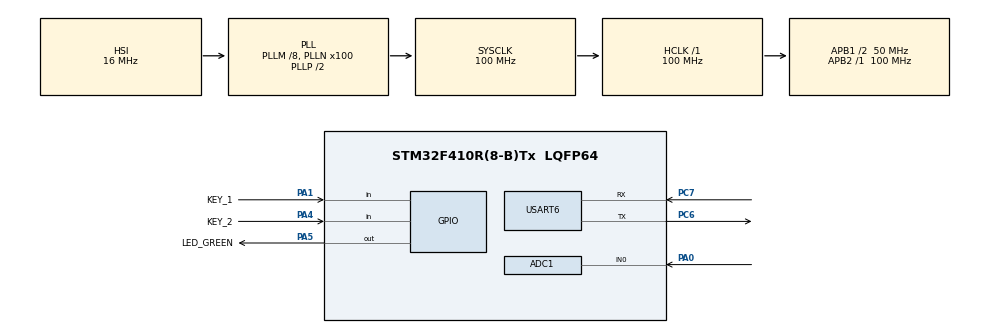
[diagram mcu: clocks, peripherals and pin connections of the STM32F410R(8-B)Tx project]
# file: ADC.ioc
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ADC1.Channel-1\#ChannelRegularConversion=ADC_CHANNEL_0
ADC1.NbrOfConversionFlag=1
ADC1.Rank-1\#ChannelRegularConversion=1
ADC1.SamplingTime-1\#ChannelRegularConversion=ADC_SAMPLETIME_3CYCLES
ADC1.master=1
Mcu.Family=STM32F4
Mcu.Name=STM32F410R(8-B)Tx
Mcu.Package=LQFP64
NVIC.PriorityGroup=NVIC_PRIORITYGROUP_4
PA0-WKUP.Signal=ADCx_IN0
PA1.GPIO_Label=KEY_1
PA1.GPIO_PuPd=GPIO_PULLUP
PA1.Signal=GPIO_Input
PA4.GPIO_Label=KEY_2
PA4.GPIO_PuPd=GPIO_PULLUP
PA4.Signal=GPIO_Input
PA5.GPIO_Label=LED_GREEN
PA5.Signal=GPIO_Output
PC6.Mode=Asynchronous
PC6.Signal=USART6_TX
PC7.Mode=Asynchronous
PC7.Signal=USART6_RX
ProjectManager.HeapSize=0x200
ProjectManager.StackSize=0x400
ProjectManager.TargetToolchain=MDK-ARM V5.32
RCC.48MHZClocksFreq_Value=50000000
RCC.AHBFreq_Value=100000000
RCC.APB1CLKDivider=RCC_HCLK_DIV2
RCC.APB1Freq_Value=50000000
RCC.APB1TimFreq_Value=100000000
RCC.APB2Freq_Value=100000000
RCC.APB2TimFreq_Value=100000000
RCC.CortexFreq_Value=100000000
RCC.HCLKFreq_Value=100000000
RCC.HSE_VALUE=8000000
RCC.HSI_VALUE=16000000
RCC.LSE_VALUE=32768
RCC.PLLM=8
RCC.PLLN=100
RCC.SYSCLKFreq_VALUE=100000000
RCC.SYSCLKSource=RCC_SYSCLKSOURCE_PLLCLK
RCC.VCOOutputFreq_Value=200000000
SH.ADCx_IN0.0=ADC1_IN0,IN0
USART6.VirtualMode=VM_ASYNC
board=custom

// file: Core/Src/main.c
/* USER CODE BEGIN Header */
/**
  ******************************************************************************
  * @file           : main.c
  * @brief          : Main program body
  ******************************************************************************
  * @attention
  *
  * Copyright (c) 2024 STMicroelectronics.
  * All rights reserved.
  *
  * This software is licensed under terms that can be found in the LICENSE file
  * in the root directory of this software component.
  * If no LICENSE file comes with this software, it is provided AS-IS.
  *
  ******************************************************************************
  */
/* USER CODE END Header */
#include "main.h"

/* USER CODE BEGIN Includes */
#include "BUTTON_HANDLER.h"
#include "stdbool.h"

/* USER CODE END Includes */

/* USER CODE BEGIN PTD */

typedef struct
{
		UART_HandleTypeDef *huart;
		uint8_t start_byte;
		uint8_t uart_add;
		uint8_t data_buf[15];
		uint8_t last_byte;

}UART_CONF;

/* USER CODE END PTD */

/* USER CODE BEGIN PD */

#define SIZE_DATA 3

#define HUART 					huart6
#define UART_ADD 				0x01
#define START_BYTE 			0xF1
#define LAST_BYTE 			0xF2
/* USER CODE END PD */

ADC_HandleTypeDef hadc1;

UART_HandleTypeDef huart6;

/* USER CODE BEGIN PV */

uint8_t data[SIZE_DATA];
uint16_t adc_value = 0;

UART_CONF uart_one; //створення структури конфигурації UART

/* USER CODE END PV */

void SystemClock_Config(void);
static void MX_GPIO_Init(void);
static void MX_ADC1_Init(void);
static void MX_USART6_UART_Init(void);
/* USER CODE BEGIN PFP */

void setConfigUART(UART_HandleTypeDef *huart ,uint8_t uart_add, uint8_t start_byte, uint8_t last_byte);
bool UART_Transmit(UART_CONF *uart, uint8_t *data, uint8_t *len);
unsigned char Crc8(unsigned char *pcBlock, unsigned int len);

/* USER CODE END PFP */

int main(void)
{

  /* MCU Configuration--------------------------------------------------------*/

  /* Reset of all peripherals, Initializes the Flash interface and the Systick. */
  HAL_Init();

  /* USER CODE BEGIN Init */

	setConfigUART(&HUART, UART_ADD, START_BYTE, LAST_BYTE); //установка налаштувань UART

  /* USER CODE END Init */

  /* Configure the system clock */
  SystemClock_Config();

  /* Initialize all configured peripherals */
  MX_GPIO_Init();
  MX_ADC1_Init();
  MX_USART6_UART_Init();
  /* USER CODE BEGIN 2 */

	BUTTON_Init();

  /* USER CODE END 2 */

  /* Infinite loop */
  /* USER CODE BEGIN WHILE */
	uint8_t len = 3;
  while (1)
  {
			HAL_ADC_Start( &hadc1 );

			if( HAL_ADC_PollForConversion( &hadc1, 100 ) == HAL_OK )
			{
					adc_value = HAL_ADC_GetValue( &hadc1 );
			}

			BUTTON_Process(); //Початок обробки кнопок.

			if( BUTTON_GetAction(KEY_1, TRIG_FALL_ONE_TIME) == BUTTON_SHORT_PRESS )
			{
					data[0] = 1;
					data[1] = (uint16_t)adc_value >> 8;
					data[2] = (uint8_t)adc_value;
					//data[3] = Crc8(data, SIZE_DATA-1);	//Обчислення контрольної суми.
					//HAL_UART_Transmit( &huart6, data, 3, 100 );

					UART_Transmit(&uart_one, data, &len);
			}

			if( BUTTON_GetAction(KEY_2, TRIG_RISE_ONE_TIME) == BUTTON_SHORT_PRESS )
			{
					data[0] = 2;
					data[1] = (uint16_t)adc_value >> 8;
					data[2] = (uint8_t)adc_value;
					//data[3] = Crc8(data, SIZE_DATA-1);	//Обчислення контрольної суми.
					UART_Transmit(&uart_one, data, &len);
			}

			BUTTON_ResetActions();	//Кінець обробки кнопок.

    /* USER CODE END WHILE */

  }
}

void SystemClock_Config(void)
{
  RCC_OscInitTypeDef RCC_OscInitStruct = {0};
  RCC_ClkInitTypeDef RCC_ClkInitStruct = {0};

  /** Configure the main internal regulator output voltage
  */
  __HAL_RCC_PWR_CLK_ENABLE();
  __HAL_PWR_VOLTAGESCALING_CONFIG(PWR_REGULATOR_VOLTAGE_SCALE1);

  /** Initializes the RCC Oscillators according to the specified parameters
  * in the RCC_OscInitTypeDef structure.
  */
  RCC_OscInitStruct.OscillatorType = RCC_OSCILLATORTYPE_HSI;
  RCC_OscInitStruct.HSIState = RCC_HSI_ON;
  RCC_OscInitStruct.HSICalibrationValue = RCC_HSICALIBRATION_DEFAULT;
  RCC_OscInitStruct.PLL.PLLState = RCC_PLL_ON;
  RCC_OscInitStruct.PLL.PLLSource = RCC_PLLSOURCE_HSI;
  RCC_OscInitStruct.PLL.PLLM = 8;
  RCC_OscInitStruct.PLL.PLLN = 100;
  RCC_OscInitStruct.PLL.PLLP = RCC_PLLP_DIV2;
  RCC_OscInitStruct.PLL.PLLQ = 4;
  RCC_OscInitStruct.PLL.PLLR = 2;
  if (HAL_RCC_OscConfig(&RCC_OscInitStruct) != HAL_OK)
  {
    Error_Handler();
  }

  /** Initializes the CPU, AHB and APB buses clocks
  */
  RCC_ClkInitStruct.ClockType = RCC_CLOCKTYPE_HCLK|RCC_CLOCKTYPE_SYSCLK
                              |RCC_CLOCKTYPE_PCLK1|RCC_CLOCKTYPE_PCLK2;
  RCC_ClkInitStruct.SYSCLKSource = RCC_SYSCLKSOURCE_PLLCLK;
  RCC_ClkInitStruct.AHBCLKDivider = RCC_SYSCLK_DIV1;
  RCC_ClkInitStruct.APB1CLKDivider = RCC_HCLK_DIV2;
  RCC_ClkInitStruct.APB2CLKDivider = RCC_HCLK_DIV1;

  if (HAL_RCC_ClockConfig(&RCC_ClkInitStruct, FLASH_LATENCY_3) != HAL_OK)
  {
    Error_Handler();
  }
}

static void MX_ADC1_Init(void)
{

  ADC_ChannelConfTypeDef sConfig = {0};

  /** Configure the global features of the ADC (Clock, Resolution, Data Alignment and number of conversion)
  */
  hadc1.Instance = ADC1;
  hadc1.Init.ClockPrescaler = ADC_CLOCK_SYNC_PCLK_DIV4;
  hadc1.Init.Resolution = ADC_RESOLUTION_12B;
  hadc1.Init.ScanConvMode = DISABLE;
  hadc1.Init.ContinuousConvMode = DISABLE;
  hadc1.Init.DiscontinuousConvMode = DISABLE;
  hadc1.Init.ExternalTrigConvEdge = ADC_EXTERNALTRIGCONVEDGE_NONE;
  hadc1.Init.ExternalTrigConv = ADC_SOFTWARE_START;
  hadc1.Init.DataAlign = ADC_DATAALIGN_RIGHT;
  hadc1.Init.NbrOfConversion = 1;
  hadc1.Init.DMAContinuousRequests = DISABLE;
  hadc1.Init.EOCSelection = ADC_EOC_SINGLE_CONV;
  if (HAL_ADC_Init(&hadc1) != HAL_OK)
  {
    Error_Handler();
  }

  /** Configure for the selected ADC regular channel its corresponding rank in the sequencer and its sample time.
  */
  sConfig.Channel = ADC_CHANNEL_0;
  sConfig.Rank = 1;
  sConfig.SamplingTime = ADC_SAMPLETIME_3CYCLES;
  if (HAL_ADC_ConfigChannel(&hadc1, &sConfig) != HAL_OK)
  {
    Error_Handler();
  }

}

static void MX_USART6_UART_Init(void)
{

  huart6.Instance = USART6;
  huart6.Init.BaudRate = 115200;
  huart6.Init.WordLength = UART_WORDLENGTH_8B;
  huart6.Init.StopBits = UART_STOPBITS_1;
  huart6.Init.Parity = UART_PARITY_NONE;
  huart6.Init.Mode = UART_MODE_TX_RX;
  huart6.Init.HwFlowCtl = UART_HWCONTROL_NONE;
  huart6.Init.OverSampling = UART_OVERSAMPLING_16;
  if (HAL_UART_Init(&huart6) != HAL_OK)
  {
    Error_Handler();
  }

}

static void MX_GPIO_Init(void)
{
  GPIO_InitTypeDef GPIO_InitStruct = {0};

  /* GPIO Ports Clock Enable */
  __HAL_RCC_GPIOA_CLK_ENABLE();
  __HAL_RCC_GPIOC_CLK_ENABLE();

  /*Configure GPIO pin Output Level */
  HAL_GPIO_WritePin(LED_GREEN_GPIO_Port, LED_GREEN_Pin, GPIO_PIN_RESET);

  /*Configure GPIO pins : KEY_1_Pin KEY_2_Pin */
  GPIO_InitStruct.Pin = KEY_1_Pin|KEY_2_Pin;
  GPIO_InitStruct.Mode = GPIO_MODE_INPUT;
  GPIO_InitStruct.Pull = GPIO_PULLUP;
  HAL_GPIO_Init(GPIOA, &GPIO_InitStruct);

  /*Configure GPIO pin : LED_GREEN_Pin */
  GPIO_InitStruct.Pin = LED_GREEN_Pin;
  GPIO_InitStruct.Mode = GPIO_MODE_OUTPUT_PP;
  GPIO_InitStruct.Pull = GPIO_NOPULL;
  GPIO_InitStruct.Speed = GPIO_SPEED_FREQ_LOW;
  HAL_GPIO_Init(LED_GREEN_GPIO_Port, &GPIO_InitStruct);

}

/* USER CODE BEGIN 4 */

unsigned char Crc8(unsigned char *pcBlock, unsigned int len)
{
    unsigned char crc = 0xFF;
    unsigned int i;

    while (len--)
    {
        crc ^= *pcBlock++;

        for (i = 0; i < 8; i++)
            crc = crc & 0x80 ? (crc << 1) ^ 0x31 : crc << 1;
    }

    return crc;
}

//додати щоб функція на прийом повертала флаг, прийняла данні

//void UART_Transmit(UART_HandleTypeDef *huart ,uint8_t start_byte, uint8_t uart_add, uint8_t num_bytes, uint8_t *uart_buf, uint8_t last_byte)

//void UART_Transmit(UART_HandleTypeDef *huart ,uint8_t start_byte, uint8_t uart_add, uint8_t num_bytes, uint8_t *uart_buf, uint8_t last_byte)
//{
//		HAL_I2C_Master_Transmit( MyI2C, i2c_add, data, size, 100);
//}

//void UART_Receive(UART_HandleTypeDef *huart ,uint8_t start_byte, uint8_t uart_add, uint8_t num_bytes, uint8_t *uart_buf, uint8_t last_byte)
//{
//	HAL_I2C_Master_Receive( MyI2C, i2c_add, data, size, 100);
//}

void setConfigUART(UART_HandleTypeDef *huart ,uint8_t uart_add, uint8_t start_byte, uint8_t last_byte)
{
		uart_one.huart = huart;
		uart_one.uart_add = uart_add;
		uart_one.start_byte = start_byte;
		uart_one.last_byte = last_byte;
}

//За один раз приймати/передавати можна до 13 байт данних включно.
bool UART_Transmit(UART_CONF *uart, uint8_t *data, uint8_t *len) //Для прийому та відправки треба давати масив на 4 елементи більше для резерву, після відправки данних фуннкція повертає true
{
		uart->data_buf[0] = uart->start_byte;
		uart->data_buf[1] = uart->uart_add;
		uart->data_buf[2] = *len;

		for(uint8_t i = 0; i < *len; i++)
		{
				uart->data_buf[i+3] =	data[i];
		}

		uart->data_buf[*len+3] = Crc8(data, *len+2);

		uart->data_buf[*len+3+1] = uart->last_byte;

		return HAL_OK == HAL_UART_Transmit(uart->huart, uart->data_buf, *len+5, 100 );
}

//bool UART_Receive(UART_CONF *uart, char *data, uint8_t *len) //Для прийому та відправки треба давати масив на 4 елементи більше для резерву, після відправки данних фуннкція повертає true
//{
//
//}

/* USER CODE END 4 */

void Error_Handler(void)
{
  __disable_irq();
  while (1)
  {
  }
}
